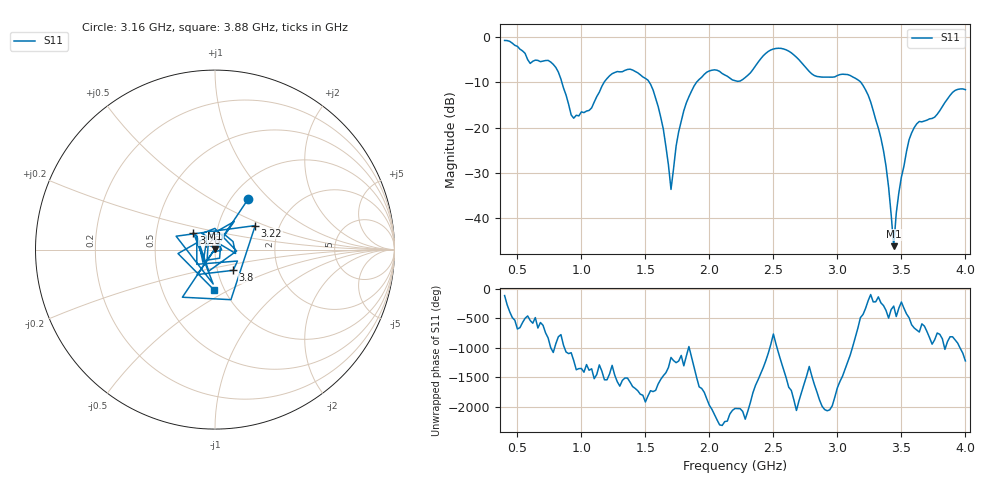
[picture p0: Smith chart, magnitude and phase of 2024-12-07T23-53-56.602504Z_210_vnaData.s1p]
!Created with skrf (http://scikit-rf.org).
# Hz S RI R 50.0
!freq ReS11 ImS11
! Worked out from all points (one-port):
!   181 points, 400 MHz to 4 GHz, reference 50 ohm
!   lowest |S11| = -46.3 dB at 3.44 GHz (marker M1), VSWR 1.01, Z = 50.2 + j0.459 ohm
!   |S11| at or under -10 dB: 847.4 MHz to 1.177 GHz (329.5 MHz wide, 32.6 % of centre); 1.531 GHz to 1.899 GHz (367.8 MHz wide, 21.4 % of centre); 3.184 GHz to end of sweep
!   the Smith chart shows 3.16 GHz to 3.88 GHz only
!   S11 on the Smith chart (normalised r, x): 3.16 GHz: 1.19, +0.76; 3.22 GHz: 1.50, +0.43; 3.28 GHz: 0.77, +0.15; 3.8 GHz: 1.19, -0.28; 3.88 GHz: 0.90, -0.43
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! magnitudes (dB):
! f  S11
! 400 MHz  -0.7
! 600 MHz  -5.8
! 760 MHz  -5.5
! 860 MHz  -11.2
! 940 MHz  -17.9
! 1.3 GHz  -7.7
! 1.44 GHz  -7.9
! 1.56 GHz  -11.7
! 1.64 GHz  -20.3
! 1.7 GHz  -33.7
! 1.76 GHz  -20.9
! 1.84 GHz  -13.2
! 1.96 GHz  -8.2
! 2.2 GHz  -9.6
! 2.48 GHz  -2.8
! 2.66 GHz  -3.9
! 2.82 GHz  -8.5
! 3.1 GHz  -8.5
! 3.16 GHz  -9.4
! 3.22 GHz  -11.7
! 3.28 GHz  -16.3
! 3.38 GHz  -28.6
! 3.44 GHz  -46.3
! 3.48 GHz  -34.5
! 3.56 GHz  -22.7
! 3.8 GHz  -16.3
! 3.88 GHz  -12.9
! 4 GHz  -11.6
